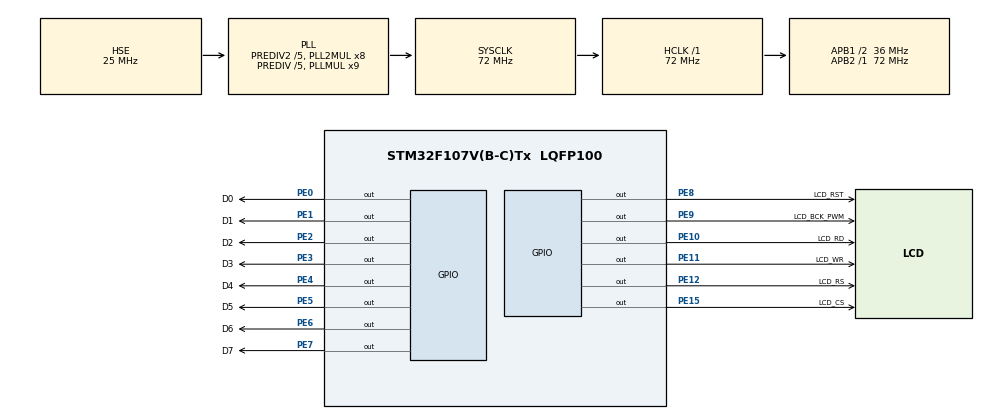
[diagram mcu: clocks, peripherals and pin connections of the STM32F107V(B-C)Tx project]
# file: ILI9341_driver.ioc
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Mcu.Family=STM32F1
Mcu.Name=STM32F107V(B-C)Tx
Mcu.Package=LQFP100
NVIC.PriorityGroup=NVIC_PRIORITYGROUP_4
OSC_IN.Mode=HSE-External-Oscillator
OSC_IN.Signal=RCC_OSC_IN
OSC_OUT.Mode=HSE-External-Oscillator
OSC_OUT.Signal=RCC_OSC_OUT
PA13.Mode=Serial_Wire
PA13.Signal=SYS_JTMS-SWDIO
PA14.Mode=Serial_Wire
PA14.Signal=SYS_JTCK-SWCLK
PE0.GPIO_Label=D0
PE0.GPIO_ModeDefaultOutputPP=GPIO_MODE_OUTPUT_PP
PE0.GPIO_Speed=GPIO_SPEED_FREQ_LOW
PE0.PinState=GPIO_PIN_SET
PE0.Signal=GPIO_Output
PE1.GPIO_Label=D1
PE1.GPIO_ModeDefaultOutputPP=GPIO_MODE_OUTPUT_PP
PE1.GPIO_Speed=GPIO_SPEED_FREQ_LOW
PE1.PinState=GPIO_PIN_SET
PE1.Signal=GPIO_Output
PE10.GPIO_Label=LCD_RD
PE10.GPIO_ModeDefaultOutputPP=GPIO_MODE_OUTPUT_PP
PE10.GPIO_Speed=GPIO_SPEED_FREQ_LOW
PE10.PinState=GPIO_PIN_SET
PE10.Signal=GPIO_Output
PE11.GPIO_Label=LCD_WR
PE11.GPIO_ModeDefaultOutputPP=GPIO_MODE_OUTPUT_PP
PE11.GPIO_Speed=GPIO_SPEED_FREQ_LOW
PE11.PinState=GPIO_PIN_SET
PE11.Signal=GPIO_Output
PE12.GPIO_Label=LCD_RS
PE12.GPIO_ModeDefaultOutputPP=GPIO_MODE_OUTPUT_PP
PE12.GPIO_Speed=GPIO_SPEED_FREQ_LOW
PE12.PinState=GPIO_PIN_SET
PE12.Signal=GPIO_Output
PE15.GPIO_Label=LCD_CS
PE15.GPIO_ModeDefaultOutputPP=GPIO_MODE_OUTPUT_PP
PE15.GPIO_Speed=GPIO_SPEED_FREQ_LOW
PE15.PinState=GPIO_PIN_SET
PE15.Signal=GPIO_Output
PE2.GPIO_Label=D2
PE2.GPIO_ModeDefaultOutputPP=GPIO_MODE_OUTPUT_PP
PE2.GPIO_Speed=GPIO_SPEED_FREQ_LOW
PE2.PinState=GPIO_PIN_SET
PE2.Signal=GPIO_Output
PE3.GPIO_Label=D3
PE3.GPIO_ModeDefaultOutputPP=GPIO_MODE_OUTPUT_PP
PE3.GPIO_Speed=GPIO_SPEED_FREQ_LOW
PE3.PinState=GPIO_PIN_SET
PE3.Signal=GPIO_Output
PE4.GPIO_Label=D4
PE4.GPIO_ModeDefaultOutputPP=GPIO_MODE_OUTPUT_PP
PE4.GPIO_Speed=GPIO_SPEED_FREQ_LOW
PE4.PinState=GPIO_PIN_SET
PE4.Signal=GPIO_Output
PE5.GPIO_Label=D5
PE5.GPIO_ModeDefaultOutputPP=GPIO_MODE_OUTPUT_PP
PE5.GPIO_Speed=GPIO_SPEED_FREQ_LOW
PE5.PinState=GPIO_PIN_SET
PE5.Signal=GPIO_Output
PE6.GPIO_Label=D6
PE6.GPIO_ModeDefaultOutputPP=GPIO_MODE_OUTPUT_PP
PE6.GPIO_Speed=GPIO_SPEED_FREQ_LOW
PE6.PinState=GPIO_PIN_SET
PE6.Signal=GPIO_Output
PE7.GPIO_Label=D7
PE7.GPIO_ModeDefaultOutputPP=GPIO_MODE_OUTPUT_PP
PE7.GPIO_Speed=GPIO_SPEED_FREQ_LOW
PE7.PinState=GPIO_PIN_SET
PE7.Signal=GPIO_Output
PE8.GPIO_Label=LCD_RST
PE8.GPIO_ModeDefaultOutputPP=GPIO_MODE_OUTPUT_PP
PE8.GPIO_Speed=GPIO_SPEED_FREQ_LOW
PE8.PinState=GPIO_PIN_SET
PE8.Signal=GPIO_Output
PE9.GPIO_Label=LCD_BCK_PWM
PE9.GPIO_ModeDefaultOutputPP=GPIO_MODE_OUTPUT_PP
PE9.GPIO_Speed=GPIO_SPEED_FREQ_LOW
PE9.PinState=GPIO_PIN_SET
PE9.Signal=GPIO_Output
ProjectManager.HeapSize=0x200
ProjectManager.StackSize=0x400
ProjectManager.TargetToolchain=MDK-ARM V5
RCC.AHBFreq_Value=72000000
RCC.APB1CLKDivider=RCC_HCLK_DIV2
RCC.APB1Freq_Value=36000000
RCC.APB1TimFreq_Value=72000000
RCC.APB2Freq_Value=72000000
RCC.APB2TimFreq_Value=72000000
RCC.HCLKFreq_Value=72000000
RCC.HSEDivPLL=RCC_HSE_PREDIV_DIV5
RCC.HSE_VALUE=25000000
RCC.PLLMUL=RCC_PLL_MUL9
RCC.PLLSourceVirtual=RCC_PLLSOURCE_HSE
RCC.Prediv1Source=RCC_PREDIV1_SOURCE_PLL2
RCC.Prediv2=RCC_HSE_PREDIV2_DIV5
RCC.SYSCLKFreq_VALUE=72000000
RCC.SYSCLKSource=RCC_SYSCLKSOURCE_PLLCLK
RCC.USBFreq_Value=48000000
board=ILI9341_driver

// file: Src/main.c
/* USER CODE BEGIN Header */
/**
  ******************************************************************************
  * @file           : main.c
  * @brief          : Main program body
  ******************************************************************************
  * @attention
  *
  * <h2><center>&copy; Copyright (c) 2019 STMicroelectronics.
  * All rights reserved.</center></h2>
  *
  * This software component is licensed by ST under BSD 3-Clause license,
  * the "License"; You may not use this file except in compliance with the
  * License. You may obtain a copy of the License at:
  *                        opensource.org/licenses/BSD-3-Clause
  *
  ******************************************************************************
  */
/* USER CODE END Header */

#include "main.h"

/* USER CODE BEGIN Includes */
#include "ILI9341_STM32_Driver.h"
#include "ILI9341_GFX.h"
#include "snow_tiger.h"
#include "stdlib.h"
/* USER CODE END Includes */

/* USER CODE BEGIN PV */
/* Private variables ---------------------------------------------------------*/

/* USER CODE END PV */

void SystemClock_Config(void);
static void MX_GPIO_Init(void);
/* USER CODE BEGIN PFP */
/* Private function prototypes -----------------------------------------------*/

/* USER CODE END PFP */

int main(void)
{

  /* MCU Configuration--------------------------------------------------------*/

  /* Reset of all peripherals, Initializes the Flash interface and the Systick. */
  HAL_Init();

  /* Configure the system clock */
  SystemClock_Config();

  /* Initialize all configured peripherals */
  MX_GPIO_Init();
  /* USER CODE BEGIN 2 */
	ILI9341_Init();

  /* USER CODE END 2 */

  /* Infinite loop */
  /* USER CODE BEGIN WHILE */
	ILI9341_Set_Rotation(SCREEN_HORIZONTAL_1);
	ILI9341_Fill_Screen(BLUE);
//	ILI9341_Set_Rotation(SCREEN_VERTICAL_2);
//	ILI9341_Fill_Screen(WHITE);
//	ILI9341_Set_Rotation(SCREEN_HORIZONTAL_1);
//	ILI9341_Fill_Screen(RED);
//	ILI9341_Set_Rotation(SCREEN_HORIZONTAL_1);
//	ILI9341_Fill_Screen(YELLOW);
//	ILI9341_Set_Rotation(SCREEN_VERTICAL_1);
//	ILI9341_Fill_Screen(GREEN);
//	ILI9341_Draw_Rectangle(0, 10, 100, 50, CYAN);
	ILI9341_Draw_Text("EE304", 10, 10, BLACK, 10, WHITE);
	ILI9341_Draw_Text("Embedded", 10, 120, BLACK, 5, RED);
	ILI9341_Draw_Text("Systems", 10, 180, WHITE, 5, RED);
	ILI9341_Draw_Hollow_Circle(150, 100, 100, GREENYELLOW);
	HAL_Delay(500);
	ILI9341_Draw_Image((const char*)dog_small, 100, 100, 0, 0);
	ILI9341_Draw_Image((const char*)dog_small, 100, 100, 150, 0);
	ILI9341_Draw_Image((const char*)dog_small, 100, 100, 100, 100);
	HAL_Delay(3000);
	for(int i=0;i<21;i++)
		for(int j=0;j<13;j++)
		{
			ILI9341_Draw_Image((const char*)dog_small, 100, 100, i*10, j*10);
		}
	HAL_Delay(3000);
	ILI9341_Fill_Screen(YELLOW);
	ILI9341_Set_Rotation(SCREEN_HORIZONTAL_2);
	ILI9341_Draw_Image((const char*)dog_small, 100, 100, 0, 0);
	HAL_Delay(1000);
	ILI9341_Set_Rotation(SCREEN_VERTICAL_1);
	ILI9341_Draw_Image((const char*)dog_small, 100, 100, 0, 0);
	HAL_Delay(1000);
	ILI9341_Set_Rotation(SCREEN_VERTICAL_2);
	ILI9341_Draw_Image((const char*)dog_small, 100, 100, 0, 0);
	HAL_Delay(1000);
	ILI9341_Set_Rotation(SCREEN_HORIZONTAL_1);
	ILI9341_Draw_Image((const char*)dog_small, 100, 100, 0, 0);
	HAL_Delay(3000);
	srand(234);
  while (1)
  {

    /* USER CODE END WHILE */

    /* USER CODE BEGIN 3 */
		static uint16_t x = 0;
		static uint16_t y = 0;
		char Temp_Buffer_text[40];

//----------------------------------------------------------COUNTING MULTIPLE SEGMENTS
		ILI9341_Fill_Screen(WHITE);
		ILI9341_Set_Rotation(SCREEN_HORIZONTAL_1);
		ILI9341_Draw_Text("Counting multiple segments at once", 10, 10, BLACK, 1, WHITE);
		HAL_Delay(2000);
		ILI9341_Fill_Screen(WHITE);

		for(uint16_t i = 0; i <= 10; i++)
		{
		sprintf(Temp_Buffer_text, "Counting: %d", i);
		ILI9341_Draw_Text(Temp_Buffer_text, 10, 10, BLACK, 2, WHITE);
		ILI9341_Draw_Text(Temp_Buffer_text, 10, 30, BLUE, 2, WHITE);
		ILI9341_Draw_Text(Temp_Buffer_text, 10, 50, RED, 2, WHITE);
		ILI9341_Draw_Text(Temp_Buffer_text, 10, 70, GREEN, 2, WHITE);
		ILI9341_Draw_Text(Temp_Buffer_text, 10, 90, BLACK, 2, WHITE);
		ILI9341_Draw_Text(Temp_Buffer_text, 10, 110, BLUE, 2, WHITE);
		ILI9341_Draw_Text(Temp_Buffer_text, 10, 130, RED, 2, WHITE);
		ILI9341_Draw_Text(Temp_Buffer_text, 10, 150, GREEN, 2, WHITE);
		ILI9341_Draw_Text(Temp_Buffer_text, 10, 170, WHITE, 2, BLACK);
		ILI9341_Draw_Text(Temp_Buffer_text, 10, 190, BLUE, 2, BLACK);
		ILI9341_Draw_Text(Temp_Buffer_text, 10, 210, RED, 2, BLACK);
		}

		HAL_Delay(1000);
//----------------------------------------------------------COUNTING SINGLE SEGMENT
		ILI9341_Fill_Screen(WHITE);
		ILI9341_Set_Rotation(SCREEN_HORIZONTAL_1);
		ILI9341_Draw_Text("Counting single segment", 10, 10, BLACK, 1, WHITE);
		HAL_Delay(2000);
		ILI9341_Fill_Screen(WHITE);

		for(uint16_t i = 0; i <= 100; i++)
		{
		sprintf(Temp_Buffer_text, "Counting: %d", i);
		ILI9341_Draw_Text(Temp_Buffer_text, 10, 10, BLACK, 3, WHITE);
		}

		HAL_Delay(1000);
//----------------------------------------------------------ALIGNMENT TEST
		ILI9341_Fill_Screen(WHITE);
		ILI9341_Set_Rotation(SCREEN_HORIZONTAL_1);
		ILI9341_Draw_Text("Rectangle alignment check", 10, 10, BLACK, 1, WHITE);
		HAL_Delay(2000);
		ILI9341_Fill_Screen(WHITE);

		ILI9341_Draw_Hollow_Rectangle_Coord(50, 50, 100, 100, BLACK);
		ILI9341_Draw_Filled_Rectangle_Coord(20, 20, 50, 50, BLACK);
		ILI9341_Draw_Hollow_Rectangle_Coord(10, 10, 19, 19, BLACK);
		HAL_Delay(1000);
//----------------------------------------------------------LINES EXAMPLE
		ILI9341_Fill_Screen(WHITE);
		ILI9341_Set_Rotation(SCREEN_HORIZONTAL_1);
		ILI9341_Draw_Text("Randomly placed and sized", 10, 10, BLACK, 1, WHITE);
		ILI9341_Draw_Text("Horizontal and Vertical lines", 10, 20, BLACK, 1, WHITE);
		HAL_Delay(2000);
		ILI9341_Fill_Screen(WHITE);

		for(uint32_t i = 0; i < 30000; i++)
		{
			uint32_t random_num = 0;
			uint16_t xr = 0;
			uint16_t yr = 0;
			uint16_t radiusr = 0;
			uint16_t colourr = 0;
			random_num = rand();
			xr = random_num;
			random_num = rand();
			yr = random_num;
			random_num = rand();
			radiusr = random_num;
			random_num = rand();
			colourr = random_num;

			xr &= 0x01FF;
			yr &= 0x01FF;
			radiusr &= 0x001F;
			//ili9341_drawpixel(xr, yr, WHITE);
			ILI9341_Draw_Horizontal_Line(xr, yr, radiusr, colourr);
			ILI9341_Draw_Vertical_Line(xr, yr, radiusr, colourr);
//			sprintf(Temp_Buffer_text,"i: %d x: %d y: %d", i, xr, yr);
//			ILI9341_Draw_Text(Temp_Buffer_text, 10, 20, BLACK, 1, WHITE);
//			HAL_Delay(500);
		}

		HAL_Delay(1000);
//----------------------------------------------------------HOLLOW CIRCLES EXAMPLE
		ILI9341_Fill_Screen(WHITE);
		ILI9341_Set_Rotation(SCREEN_HORIZONTAL_1);
		ILI9341_Draw_Text("Randomly placed and sized", 10, 10, BLACK, 1, WHITE);
		ILI9341_Draw_Text("Circles", 10, 20, BLACK, 1, WHITE);
		HAL_Delay(2000);
		ILI9341_Fill_Screen(WHITE);

		for(uint32_t i = 0; i < 3000; i++)
		{
			uint32_t random_num = 0;
			uint16_t xr = 0;
			uint16_t yr = 0;
			uint16_t radiusr = 0;
			uint16_t colourr = 0;
			random_num = rand();
			xr = random_num;
			random_num = rand();
			yr = random_num;
			random_num = rand();
			radiusr = random_num;
			random_num = rand();
			colourr = random_num;

			xr &= 0x01FF;
			yr &= 0x01FF;
			radiusr &= 0x001F;
			//ili9341_drawpixel(xr, yr, WHITE);
			ILI9341_Draw_Hollow_Circle(xr, yr, radiusr*2, colourr);
		}
		HAL_Delay(1000);

//----------------------------------------------------------FILLED CIRCLES EXAMPLE
		ILI9341_Fill_Screen(WHITE);
		ILI9341_Set_Rotation(SCREEN_HORIZONTAL_1);
		ILI9341_Draw_Text("Randomly placed and sized", 10, 10, BLACK, 1, WHITE);
		ILI9341_Draw_Text("Filled Circles", 10, 20, BLACK, 1, WHITE);
		HAL_Delay(2000);
		ILI9341_Fill_Screen(WHITE);

		for(uint32_t i = 0; i < 1000; i++)
		{
			uint32_t random_num = 0;
			uint16_t xr = 0;
			uint16_t yr = 0;
			uint16_t radiusr = 0;
			uint16_t colourr = 0;
			random_num = rand();
			xr = random_num;
			random_num = rand();
			yr = random_num;
			random_num = rand();
			radiusr = random_num;
			random_num = rand();
			colourr = random_num;

			xr &= 0x01FF;
			yr &= 0x01FF;
			radiusr &= 0x001F;
			//ili9341_drawpixel(xr, yr, WHITE);
			ILI9341_Draw_Filled_Circle(xr, yr, radiusr/2, colourr);
		}
		HAL_Delay(1000);

//----------------------------------------------------------HOLLOW RECTANGLES EXAMPLE
		ILI9341_Fill_Screen(WHITE);
		ILI9341_Set_Rotation(SCREEN_HORIZONTAL_1);
		ILI9341_Draw_Text("Randomly placed and sized", 10, 10, BLACK, 1, WHITE);
		ILI9341_Draw_Text("Rectangles", 10, 20, BLACK, 1, WHITE);
		HAL_Delay(2000);
		ILI9341_Fill_Screen(WHITE);

		for(uint32_t i = 0; i < 20000; i++)
		{
			uint32_t random_num = 0;
			uint16_t xr = 0;
			uint16_t yr = 0;
			uint16_t radiusr = 0;
			uint16_t colourr = 0;
			random_num = rand();
			xr = random_num;
			random_num = rand();
			yr = random_num;
			random_num = rand();
			radiusr = random_num;
			random_num = rand();
			colourr = random_num;

			xr &= 0x01FF;
			yr &= 0x01FF;
			radiusr &= 0x001F;
			//ili9341_drawpixel(xr, yr, WHITE);
			ILI9341_Draw_Hollow_Rectangle_Coord(xr, yr, xr+radiusr, yr+radiusr, colourr);
		}
		HAL_Delay(1000);

//----------------------------------------------------------FILLED RECTANGLES EXAMPLE
		ILI9341_Fill_Screen(WHITE);
		ILI9341_Set_Rotation(SCREEN_HORIZONTAL_1);
		ILI9341_Draw_Text("Randomly placed and sized", 10, 10, BLACK, 1, WHITE);
		ILI9341_Draw_Text("Filled Rectangles", 10, 20, BLACK, 1, WHITE);
		HAL_Delay(2000);
		ILI9341_Fill_Screen(WHITE);

		for(uint32_t i = 0; i < 20000; i++)
		{
			uint32_t random_num = 0;
			uint16_t xr = 0;
			uint16_t yr = 0;
			uint16_t radiusr = 0;
			uint16_t colourr = 0;
			random_num = rand();
			xr = random_num;
			random_num = rand();
			yr = random_num;
			random_num = rand();
			radiusr = random_num;
			random_num = rand();
			colourr = random_num;

			xr &= 0x01FF;
			yr &= 0x01FF;
			radiusr &= 0x001F;
			//ili9341_drawpixel(xr, yr, WHITE);
			ILI9341_Draw_Rectangle(xr, yr, radiusr, radiusr, colourr);
		}
		HAL_Delay(1000);
//----------------------------------------------------------INDIVIDUAL PIXEL EXAMPLE

		ILI9341_Fill_Screen(WHITE);
		ILI9341_Set_Rotation(SCREEN_HORIZONTAL_1);
		ILI9341_Draw_Text("Slow draw by selecting", 10, 10, BLACK, 1, WHITE);
		ILI9341_Draw_Text("and adressing pixels", 10, 20, BLACK, 1, WHITE);
		HAL_Delay(2000);
		ILI9341_Fill_Screen(WHITE);

		x = 0;
		y = 0;
		while (y < 240)
		{
			while ((x < 320) && (y < 240))
			{

				if(x % 2)
				{
					ILI9341_Draw_Pixel(x, y, BLACK);
				}

				x++;
			}

				y++;
				x = 0;
		}

		x = 0;
		y = 0;

		while (y < 240)
		{
			while ((x < 320) && (y < 240))
			{

				if(y % 2)
				{
					ILI9341_Draw_Pixel(x, y, BLACK);
				}

				x++;
			}

			y++;
			x = 0;
		}
		HAL_Delay(2000);
//----------------------------------------------------------INDIVIDUAL PIXEL EXAMPLE
		ILI9341_Fill_Screen(WHITE);
		ILI9341_Set_Rotation(SCREEN_HORIZONTAL_1);
		ILI9341_Draw_Text("Random position and colour", 10, 10, BLACK, 1, WHITE);
		ILI9341_Draw_Text("500000 pixels", 10, 20, BLACK, 1, WHITE);
		HAL_Delay(2000);
		ILI9341_Fill_Screen(WHITE);

		for(uint32_t i = 0; i < 500000; i++)
		{
			uint32_t random_num = 0;
			uint16_t xr = 0;
			uint16_t yr = 0;
			random_num = rand();
			xr = random_num;
			random_num = rand();
			yr = random_num;
			uint16_t color = rand();

			xr &= 0x01FF;
			yr &= 0x01FF;
			ILI9341_Draw_Pixel(xr, yr, color);
		}
		HAL_Delay(2000);

//----------------------------------------------------------565 COLOUR EXAMPLE, Grayscale
		ILI9341_Fill_Screen(WHITE);
		ILI9341_Set_Rotation(SCREEN_HORIZONTAL_1);
		ILI9341_Draw_Text("Colour gradient", 10, 10, BLACK, 1, WHITE);
		ILI9341_Draw_Text("Grayscale", 10, 20, BLACK, 1, WHITE);
		HAL_Delay(2000);

		for(uint16_t i = 0; i <= (320); i++)
		{
			uint16_t Red = 0;
			uint16_t Green = 0;
			uint16_t Blue = 0;

			Red = i/(10);
			Red <<= 11;
			Green = i/(5);
			Green <<= 5;
			Blue = i/(10);

			uint16_t RGB_color = Red + Green + Blue;
			ILI9341_Draw_Rectangle(i, x, 1, 240, RGB_color);

		}
		HAL_Delay(2000);
////----------------------------------------------------------IMAGE EXAMPLE, Snow Tiger
//		ILI9341_Fill_Screen(WHITE);
//		ILI9341_Set_Rotation(SCREEN_HORIZONTAL_1);
//		ILI9341_Draw_Text("RGB Picture", 10, 10, BLACK, 1, WHITE);
//		ILI9341_Draw_Text("TIGER", 10, 20, BLACK, 1, WHITE);
//		HAL_Delay(2000);
//		ILI9341_Draw_Image((const char*)snow_tiger, SCREEN_VERTICAL_2);
//		ILI9341_Set_Rotation(SCREEN_VERTICAL_1);
//		HAL_Delay(10000);

  }
  /* USER CODE END 3 */
}

void SystemClock_Config(void)
{
  RCC_OscInitTypeDef RCC_OscInitStruct = {0};
  RCC_ClkInitTypeDef RCC_ClkInitStruct = {0};

  /** Initializes the CPU, AHB and APB busses clocks
  */
  RCC_OscInitStruct.OscillatorType = RCC_OSCILLATORTYPE_HSE;
  RCC_OscInitStruct.HSEState = RCC_HSE_ON;
  RCC_OscInitStruct.HSEPredivValue = RCC_HSE_PREDIV_DIV5;
  RCC_OscInitStruct.HSIState = RCC_HSI_ON;
  RCC_OscInitStruct.Prediv1Source = RCC_PREDIV1_SOURCE_PLL2;
  RCC_OscInitStruct.PLL.PLLState = RCC_PLL_ON;
  RCC_OscInitStruct.PLL.PLLSource = RCC_PLLSOURCE_HSE;
  RCC_OscInitStruct.PLL.PLLMUL = RCC_PLL_MUL9;
  RCC_OscInitStruct.PLL2.PLL2State = RCC_PLL2_ON;
  RCC_OscInitStruct.PLL2.PLL2MUL = RCC_PLL2_MUL8;
  RCC_OscInitStruct.PLL2.HSEPrediv2Value = RCC_HSE_PREDIV2_DIV5;
  if (HAL_RCC_OscConfig(&RCC_OscInitStruct) != HAL_OK)
  {
    Error_Handler();
  }
  /** Initializes the CPU, AHB and APB busses clocks
  */
  RCC_ClkInitStruct.ClockType = RCC_CLOCKTYPE_HCLK|RCC_CLOCKTYPE_SYSCLK
                              |RCC_CLOCKTYPE_PCLK1|RCC_CLOCKTYPE_PCLK2;
  RCC_ClkInitStruct.SYSCLKSource = RCC_SYSCLKSOURCE_PLLCLK;
  RCC_ClkInitStruct.AHBCLKDivider = RCC_SYSCLK_DIV1;
  RCC_ClkInitStruct.APB1CLKDivider = RCC_HCLK_DIV2;
  RCC_ClkInitStruct.APB2CLKDivider = RCC_HCLK_DIV1;

  if (HAL_RCC_ClockConfig(&RCC_ClkInitStruct, FLASH_LATENCY_2) != HAL_OK)
  {
    Error_Handler();
  }
  /** Configure the Systick interrupt time
  */
  __HAL_RCC_PLLI2S_ENABLE();
}

static void MX_GPIO_Init(void)
{
  GPIO_InitTypeDef GPIO_InitStruct = {0};

  /* GPIO Ports Clock Enable */
  __HAL_RCC_GPIOE_CLK_ENABLE();
  __HAL_RCC_GPIOA_CLK_ENABLE();

  /*Configure GPIO pin Output Level */
  HAL_GPIO_WritePin(GPIOE, D2_Pin|D3_Pin|D4_Pin|D5_Pin
                          |D6_Pin|D7_Pin|LCD_RST_Pin|LCD_BCK_PWM_Pin
                          |LCD_RD_Pin|LCD_WR_Pin|LCD_RS_Pin|LCD_CS_Pin
                          |D0_Pin|D1_Pin, GPIO_PIN_SET);

  /*Configure GPIO pins : D2_Pin D3_Pin D4_Pin D5_Pin
                           D6_Pin D7_Pin LCD_RST_Pin LCD_BCK_PWM_Pin
                           LCD_RD_Pin LCD_WR_Pin LCD_RS_Pin LCD_CS_Pin
                           D0_Pin D1_Pin */
  GPIO_InitStruct.Pin = D2_Pin|D3_Pin|D4_Pin|D5_Pin
                          |D6_Pin|D7_Pin|LCD_RST_Pin|LCD_BCK_PWM_Pin
                          |LCD_RD_Pin|LCD_WR_Pin|LCD_RS_Pin|LCD_CS_Pin
                          |D0_Pin|D1_Pin;
  GPIO_InitStruct.Mode = GPIO_MODE_OUTPUT_PP;
  GPIO_InitStruct.Pull = GPIO_NOPULL;
  GPIO_InitStruct.Speed = GPIO_SPEED_FREQ_LOW;
  HAL_GPIO_Init(GPIOE, &GPIO_InitStruct);

}

void Error_Handler(void)
{
  while(1)
  {
  }
}

/************************ (C) COPYRIGHT STMicroelectronics *****END OF FILE****/
